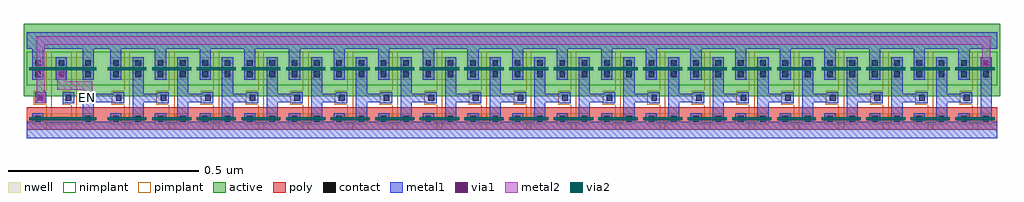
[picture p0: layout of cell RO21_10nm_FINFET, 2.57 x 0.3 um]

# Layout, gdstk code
import gdstk
lib = gdstk.Library(unit=1e-6, precision=1e-09)
def R(c, l, rs):  # rectangles x0, y0, x1, y1
    for r in rs: c.add(gdstk.rectangle(r[:2], r[2:], *l))
def A(c, l, x, y, w, h, nx, ny, dx, dy):  # array of equal rectangles
    R(c, l, [(x+i*dx, y+j*dy, x+i*dx+w, y+j*dy+h) for i in range(nx) for j in range(ny)])
active = (1, 0)
nwell = (2, 0)
poly = (3, 0)
nimplant = (4, 0)
pimplant = (5, 0)
contact = (6, 0)
metal1 = (7, 0)
via1 = (8, 0)
metal2 = (9, 0)
via2 = (10, 0)

ro21_10nm_finfet = lib.new_cell('RO21_10nm_FINFET')
A(ro21_10nm_finfet, active, 0.433, 0.11, 0.132, 0.191, 3, 1, 0.117, 0)
A(ro21_10nm_finfet, active, 0.785, 0.11, 0.132, 0.191, 3, 1, 0.117, 0)
A(ro21_10nm_finfet, active, 1.137, 0.11, 0.132, 0.191, 3, 1, 0.117, 0)
A(ro21_10nm_finfet, active, 1.489, 0.11, 0.132, 0.191, 3, 1, 0.117, 0)
A(ro21_10nm_finfet, active, 1.841, 0.11, 0.132, 0.191, 3, 1, 0.117, 0)
A(ro21_10nm_finfet, active, 2.193, 0.11, 0.132, 0.191, 3, 1, 0.117, 0)
R(ro21_10nm_finfet, active, [(-0.007,0.11,0.213,0.301), (0.198,0.11,0.33,0.301), (0.315,0.11,0.447,0.301)])
A(ro21_10nm_finfet, nwell, 0.455, 0.037, 0.088, 0.029, 3, 1, 0.117, 0)
A(ro21_10nm_finfet, nwell, 0.807, 0.037, 0.088, 0.029, 3, 1, 0.117, 0)
A(ro21_10nm_finfet, nwell, 1.159, 0.037, 0.088, 0.029, 3, 1, 0.117, 0)
A(ro21_10nm_finfet, nwell, 1.511, 0.037, 0.088, 0.029, 3, 1, 0.117, 0)
A(ro21_10nm_finfet, nwell, 1.863, 0.037, 0.088, 0.029, 3, 1, 0.117, 0)
A(ro21_10nm_finfet, nwell, 2.215, 0.037, 0.088, 0.029, 3, 1, 0.117, 0)
A(ro21_10nm_finfet, nwell, 0.455, 0.154, 0.088, 0.059, 3, 1, 0.117, 0)
A(ro21_10nm_finfet, nwell, 0.807, 0.154, 0.088, 0.059, 3, 1, 0.117, 0)
A(ro21_10nm_finfet, nwell, 1.159, 0.154, 0.088, 0.059, 3, 1, 0.117, 0)
A(ro21_10nm_finfet, nwell, 1.511, 0.154, 0.088, 0.059, 3, 1, 0.117, 0)
A(ro21_10nm_finfet, nwell, 1.863, 0.154, 0.088, 0.059, 3, 1, 0.117, 0)
A(ro21_10nm_finfet, nwell, 2.215, 0.154, 0.088, 0.059, 3, 1, 0.117, 0)
R(ro21_10nm_finfet, nwell, [(0.015,0.037,0.176,0.066), (0.22,0.037,0.308,0.066), (0.337,0.037,0.425,0.066), (0.015,0.154,0.176,0.213), (0.22,0.154,0.308,0.213), (0.337,0.154,0.425,0.213)])
A(ro21_10nm_finfet, poly, 0.205, 0.022, 0.118, 0.059, 7, 1, 0.352, 0)
R(ro21_10nm_finfet, poly, [(0,0.022,0.205,0.081), (0.323,0.022,0.44,0.081), (0.44,0.022,0.557,0.081), (0.675,0.022,0.792,0.081), (0.792,0.022,0.909,0.081), (1.027,0.022,1.144,0.081), (1.144,0.022,1.261,0.081), (1.379,0.022,1.496,0.081), (1.496,0.022,1.613,0.081), (1.731,0.022,1.848,0.081), (1.848,0.022,1.965,0.081), (2.083,0.022,2.2,0.081), (2.2,0.022,2.317,0.081), (2.435,0.022,2.552,0.081)])
A(ro21_10nm_finfet, nimplant, 0.205, 0.139, 0.118, 0.088, 7, 1, 0.352, 0)
R(ro21_10nm_finfet, nimplant, [(0,0.139,0.205,0.227), (0.323,0.139,0.44,0.227), (0.44,0.139,0.557,0.227), (0.675,0.139,0.792,0.227), (0.792,0.139,0.909,0.227), (1.027,0.139,1.144,0.227), (1.144,0.139,1.261,0.227), (1.379,0.139,1.496,0.227), (1.496,0.139,1.613,0.227), (1.731,0.139,1.848,0.227), (1.848,0.139,1.965,0.227), (2.083,0.139,2.2,0.227), (2.2,0.139,2.317,0.227), (2.435,0.139,2.552,0.227)])
A(ro21_10nm_finfet, pimplant, 0.257, 0.022, 0.014, 0.205, 7, 1, 0.352, 0)
A(ro21_10nm_finfet, pimplant, 0.224, 0.088, 0.036, 0.037, 7, 1, 0.352, 0)
R(ro21_10nm_finfet, pimplant, [(0.051,0.022,0.066,0.227), (0.117,0.022,0.132,0.227), (0.374,0.022,0.389,0.227), (0.491,0.022,0.506,0.227), (0.726,0.022,0.741,0.227), (0.843,0.022,0.858,0.227), (1.078,0.022,1.093,0.227), (1.195,0.022,1.21,0.227), (1.43,0.022,1.445,0.227), (1.547,0.022,1.562,0.227), (1.782,0.022,1.797,0.227), (1.899,0.022,1.914,0.227), (2.134,0.022,2.149,0.227), (2.251,0.022,2.266,0.227), (2.486,0.022,2.501,0.227), (0.018,0.088,0.055,0.125), (0.095,0.088,0.132,0.125), (0.341,0.088,0.378,0.125), (0.458,0.088,0.495,0.125), (0.693,0.088,0.73,0.125), (0.81,0.088,0.847,0.125), (1.045,0.088,1.082,0.125), (1.162,0.088,1.199,0.125), (1.397,0.088,1.434,0.125), (1.514,0.088,1.551,0.125), (1.749,0.088,1.786,0.125), (1.866,0.088,1.903,0.125), (2.101,0.088,2.138,0.125), (2.218,0.088,2.255,0.125), (2.453,0.088,2.49,0.125)])
A(ro21_10nm_finfet, contact, 0.345, 0.044, 0.014, 0.015, 13, 2, 0.176, 0.117)
A(ro21_10nm_finfet, contact, 0.235, 0.099, 0.014, 0.015, 7, 1, 0.352, 0)
A(ro21_10nm_finfet, contact, 0.345, 0.191, 0.014, 0.014, 13, 1, 0.176, 0)
R(ro21_10nm_finfet, contact, [(0.022,0.044,0.037,0.059), (0.154,0.044,0.169,0.059), (0.227,0.044,0.242,0.059), (0.286,0.044,0.301,0.059), (0.403,0.044,0.418,0.059), (0.462,0.044,0.477,0.059), (0.579,0.044,0.594,0.059), (0.638,0.044,0.653,0.059), (0.755,0.044,0.77,0.059), (0.814,0.044,0.829,0.059), (0.931,0.044,0.946,0.059), (0.99,0.044,1.005,0.059), (1.107,0.044,1.122,0.059), (1.166,0.044,1.181,0.059), (1.283,0.044,1.298,0.059), (1.342,0.044,1.357,0.059), (1.459,0.044,1.474,0.059), (1.518,0.044,1.533,0.059), (1.635,0.044,1.65,0.059), (1.694,0.044,1.709,0.059), (1.811,0.044,1.826,0.059), (1.87,0.044,1.885,0.059), (1.987,0.044,2.002,0.059), (2.046,0.044,2.061,0.059), (2.163,0.044,2.178,0.059), (2.222,0.044,2.237,0.059), (2.339,0.044,2.354,0.059), (2.398,0.044,2.413,0.059), (2.515,0.044,2.53,0.059), (0.029,0.099,0.044,0.114), (0.103,0.099,0.117,0.114), (0.352,0.099,0.367,0.114), (0.469,0.099,0.484,0.114), (0.704,0.099,0.719,0.114), (0.821,0.099,0.836,0.114), (1.056,0.099,1.071,0.114), (1.173,0.099,1.188,0.114), (1.408,0.099,1.423,0.114), (1.525,0.099,1.54,0.114), (1.76,0.099,1.775,0.114), (1.877,0.099,1.892,0.114), (2.112,0.099,2.127,0.114), (2.229,0.099,2.244,0.114), (2.464,0.099,2.479,0.114), (0.022,0.161,0.037,0.176), (0.084,0.161,0.099,0.176), (0.154,0.161,0.169,0.176), (0.227,0.161,0.242,0.176), (0.286,0.161,0.301,0.176), (0.403,0.161,0.418,0.176), (0.462,0.161,0.477,0.176), (0.579,0.161,0.594,0.176), (0.638,0.161,0.653,0.176), (0.755,0.161,0.77,0.176), (0.814,0.161,0.829,0.176), (0.931,0.161,0.946,0.176), (0.99,0.161,1.005,0.176), (1.107,0.161,1.122,0.176), (1.166,0.161,1.181,0.176), (1.283,0.161,1.298,0.176), (1.342,0.161,1.357,0.176), (1.459,0.161,1.474,0.176), (1.518,0.161,1.533,0.176), (1.635,0.161,1.65,0.176), (1.694,0.161,1.709,0.176), (1.811,0.161,1.826,0.176), (1.87,0.161,1.885,0.176), (1.987,0.161,2.002,0.176), (2.046,0.161,2.061,0.176), (2.163,0.161,2.178,0.176), (2.222,0.161,2.237,0.176), (2.339,0.161,2.354,0.176), (2.398,0.161,2.413,0.176), (2.515,0.161,2.53,0.176), (0.022,0.191,0.037,0.205), (0.084,0.191,0.099,0.205), (0.154,0.191,0.169,0.205), (0.227,0.191,0.242,0.205), (0.286,0.191,0.301,0.205), (0.403,0.191,0.418,0.205), (0.462,0.191,0.477,0.205), (0.579,0.191,0.594,0.205), (0.638,0.191,0.653,0.205), (0.755,0.191,0.77,0.205), (0.814,0.191,0.829,0.205), (0.931,0.191,0.946,0.205), (0.99,0.191,1.005,0.205), (1.107,0.191,1.122,0.205), (1.166,0.191,1.181,0.205), (1.283,0.191,1.298,0.205), (1.342,0.191,1.357,0.205), (1.459,0.191,1.474,0.205), (1.518,0.191,1.533,0.205), (1.635,0.191,1.65,0.205), (1.694,0.191,1.709,0.205), (1.811,0.191,1.826,0.205), (1.87,0.191,1.885,0.205), (1.987,0.191,2.002,0.205), (2.046,0.191,2.061,0.205), (2.163,0.191,2.178,0.205), (2.222,0.191,2.237,0.205), (2.339,0.191,2.354,0.205), (2.398,0.191,2.413,0.205), (2.515,0.191,2.53,0.205)])
A(ro21_10nm_finfet, metal1, 0.205, 0, 0.118, 0.044, 7, 2, 0.352, 0.235)
A(ro21_10nm_finfet, metal1, 0.337, 0, 0.03, 0.066, 7, 1, 0.352, 0)
A(ro21_10nm_finfet, metal1, 0.513, 0.037, 0.03, 0.176, 6, 1, 0.352, 0)
A(ro21_10nm_finfet, metal1, 0.227, 0.092, 0.03, 0.029, 7, 1, 0.352, 0)
A(ro21_10nm_finfet, metal1, 0.543, 0.095, 0.036, 0.022, 6, 1, 0.352, 0)
A(ro21_10nm_finfet, metal1, 0.337, 0.154, 0.03, 0.125, 7, 1, 0.352, 0)
R(ro21_10nm_finfet, metal1, [(0,0,0.205,0.044), (0.015,0,0.044,0.066), (0.22,0,0.249,0.066), (0.323,0,0.44,0.044), (0.44,0,0.557,0.044), (0.455,0,0.484,0.066), (0.572,0,0.601,0.066), (0.675,0,0.792,0.044), (0.792,0,0.909,0.044), (0.807,0,0.836,0.066), (0.924,0,0.953,0.066), (1.027,0,1.144,0.044), (1.144,0,1.261,0.044), (1.159,0,1.188,0.066), (1.276,0,1.305,0.066), (1.379,0,1.496,0.044), (1.496,0,1.613,0.044), (1.511,0,1.54,0.066), (1.628,0,1.657,0.066), (1.731,0,1.848,0.044), (1.848,0,1.965,0.044), (1.863,0,1.892,0.066), (1.98,0,2.009,0.066), (2.083,0,2.2,0.044), (2.2,0,2.317,0.044), (2.215,0,2.244,0.066), (2.332,0,2.361,0.066), (2.435,0,2.552,0.044), (0.147,0.037,0.176,0.117), (0.279,0.037,0.308,0.213), (0.396,0.037,0.425,0.213), (0.631,0.037,0.66,0.213), (0.748,0.037,0.777,0.213), (0.983,0.037,1.012,0.213), (1.1,0.037,1.129,0.213), (1.335,0.037,1.364,0.213), (1.452,0.037,1.481,0.213), (1.687,0.037,1.716,0.213), (1.804,0.037,1.833,0.213), (2.039,0.037,2.068,0.213), (2.156,0.037,2.185,0.213), (2.391,0.037,2.42,0.213), (2.508,0.037,2.537,0.213), (0.022,0.092,0.051,0.121), (0.095,0.092,0.125,0.121), (0.345,0.092,0.374,0.121), (0.462,0.092,0.491,0.121), (0.697,0.092,0.726,0.121), (0.814,0.092,0.843,0.121), (1.049,0.092,1.078,0.121), (1.166,0.092,1.195,0.121), (1.401,0.092,1.43,0.121), (1.518,0.092,1.547,0.121), (1.753,0.092,1.782,0.121), (1.87,0.092,1.899,0.121), (2.105,0.092,2.134,0.121), (2.222,0.092,2.251,0.121), (2.457,0.092,2.486,0.121), (0.176,0.095,0.227,0.117), (0.308,0.095,0.345,0.117), (0.425,0.095,0.462,0.117), (0.66,0.095,0.697,0.117), (0.777,0.095,0.814,0.117), (1.012,0.095,1.049,0.117), (1.129,0.095,1.166,0.117), (1.364,0.095,1.401,0.117), (1.481,0.095,1.518,0.117), (1.716,0.095,1.753,0.117), (1.833,0.095,1.87,0.117), (2.068,0.095,2.105,0.117), (2.185,0.095,2.222,0.117), (2.42,0.095,2.457,0.117), (0.015,0.154,0.044,0.279), (0.077,0.154,0.106,0.213), (0.147,0.154,0.176,0.279), (0.22,0.154,0.249,0.279), (0.455,0.154,0.484,0.279), (0.572,0.154,0.601,0.279), (0.807,0.154,0.836,0.279), (0.924,0.154,0.953,0.279), (1.159,0.154,1.188,0.279), (1.276,0.154,1.305,0.279), (1.511,0.154,1.54,0.279), (1.628,0.154,1.657,0.279), (1.863,0.154,1.892,0.279), (1.98,0.154,2.009,0.279), (2.215,0.154,2.244,0.279), (2.332,0.154,2.361,0.279), (0,0.235,0.205,0.279), (0.323,0.235,0.44,0.279), (0.44,0.235,0.557,0.279), (0.675,0.235,0.792,0.279), (0.792,0.235,0.909,0.279), (1.027,0.235,1.144,0.279), (1.144,0.235,1.261,0.279), (1.379,0.235,1.496,0.279), (1.496,0.235,1.613,0.279), (1.731,0.235,1.848,0.279), (1.848,0.235,1.965,0.279), (2.083,0.235,2.2,0.279), (2.2,0.235,2.317,0.279), (2.435,0.235,2.552,0.279)])
R(ro21_10nm_finfet, via1, [(0.154,0.095,0.169,0.11), (0.029,0.099,0.044,0.114), (0.084,0.161,0.099,0.176), (2.515,0.191,2.53,0.205)])
R(ro21_10nm_finfet, metal2, [(0.026,0.092,0.048,0.268), (0.15,0.092,0.172,0.15), (0.081,0.128,0.172,0.15), (0.081,0.128,0.103,0.18), (2.512,0.187,2.534,0.268), (0.026,0.246,2.534,0.268)])
A(ro21_10nm_finfet, via2, 0.213, 0.047, 0.102, 0.008, 7, 2, 0.352, 0.132)
R(ro21_10nm_finfet, via2, [(0.007,0.047,0.183,0.055), (0.33,0.047,0.433,0.055), (0.447,0.047,0.55,0.055), (0.682,0.047,0.785,0.055), (0.799,0.047,0.902,0.055), (1.034,0.047,1.137,0.055), (1.151,0.047,1.254,0.055), (1.386,0.047,1.489,0.055), (1.503,0.047,1.606,0.055), (1.738,0.047,1.841,0.055), (1.855,0.047,1.958,0.055), (2.09,0.047,2.193,0.055), (2.207,0.047,2.31,0.055), (2.442,0.047,2.545,0.055), (0.007,0.179,0.183,0.187), (0.33,0.179,0.433,0.187), (0.447,0.179,0.55,0.187), (0.682,0.179,0.785,0.187), (0.799,0.179,0.902,0.187), (1.034,0.179,1.137,0.187), (1.151,0.179,1.254,0.187), (1.386,0.179,1.489,0.187), (1.503,0.179,1.606,0.187), (1.738,0.179,1.841,0.187), (1.855,0.179,1.958,0.187), (2.09,0.179,2.193,0.187), (2.207,0.179,2.31,0.187), (2.442,0.179,2.545,0.187)])
ro21_10nm_finfet.add(gdstk.Label('EN', (0.161,0.106), layer=7, texttype=0))

lib.write_gds('RO21_10nm_FINFET.gds')
